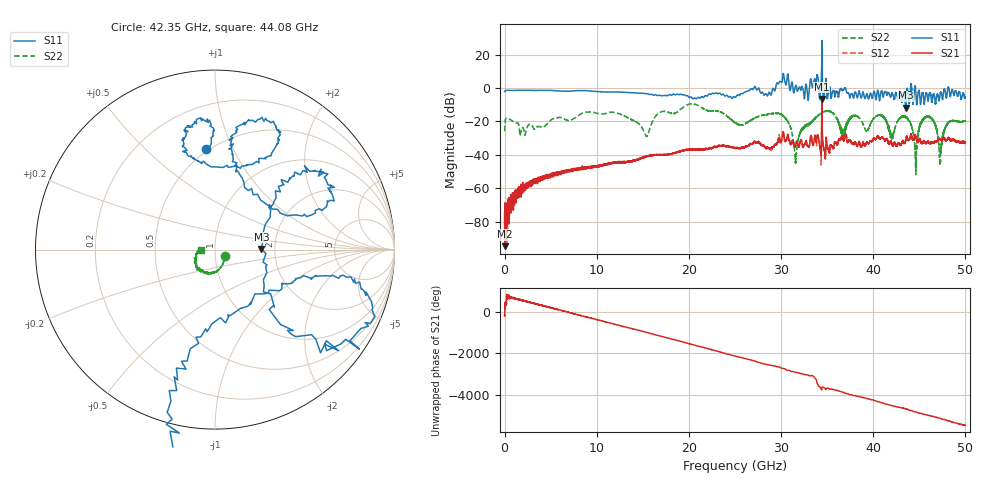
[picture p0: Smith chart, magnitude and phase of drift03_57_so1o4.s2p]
!Created with skrf (http://scikit-rf.org).
# Hz S RI R 50.0
!freq ReS11 ImS11 ReS21 ImS21 ReS12 ImS12 ReS22 ImS22
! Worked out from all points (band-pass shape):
!   10000 points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, 5.3 MHz to 50 GHz, reference 50 ohm
!   highest |S21| = -6.60 dB at 34.43 GHz (marker M1); lowest = -94.7 dB at 5.3 MHz (marker M2)
!   |S21| within 3 dB of the highest: 34.42752 GHz to 34.43473 GHz (7.206 MHz wide, 0.0209 % of centre)
!   lowest |S11| = -11.7 dB at 43.52 GHz (marker M3), VSWR 1.70, Z = 84.9 + j0.745 ohm
!   |S11| at or under -10 dB: 43.48768 GHz to 43.54497 GHz (57.29 MHz wide, 0.132 % of centre); 44.70928 GHz to 44.71177 GHz (2.49 MHz wide, 0.00557 % of centre)
!   |S22| runs from -51.9 to -9.4 dB; largest |S21 - S12| = 0.13
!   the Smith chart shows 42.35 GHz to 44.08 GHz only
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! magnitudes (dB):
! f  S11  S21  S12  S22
! 5.3 MHz  -2.1  -94.7  -81.2  -25.9
! 2.355 GHz  -1.4  -59.6  -57.9  -25.1
! 8.34 GHz  -1.5  -48.1  -48.1  -15.3
! 12.45 GHz  -2.4  -44.4  -44.5  -15.5
! 15.4 GHz  -3.5  -40.9  -40.9  -28.9
! 16.67 GHz  -4.4  -40.3  -40.0  -15.3
! 20.47 GHz  -6.5  -36.7  -36.9  -9.6
! 25.01 GHz  -5.5  -35.8  -35.8  -20.7
! 29.93 GHz  4.0  -32.4  -31.6  -15.6
! 31.59 GHz  1.4  -33.7  -33.9  -44.7
! 33.34 GHz  2.6  -30.0  -30.5  -20.2
! 34.43 GHz  28.5  -6.6  -8.5  -14.5
! 36.69 GHz  -1.4  -29.8  -29.7  -27.8
! 37.95 GHz  -3.9  -32.8  -32.8  -16.3
! 41.67 GHz  -2.8  -33.4  -33.3  -22.4
! 43.52 GHz  -11.7  -31.4  -31.4  -17.5
! 44.61 GHz  -1.4  -29.0  -29.2  -47.0
! 45.27 GHz  -4.0  -32.9  -33.1  -19.9
! 46.31 GHz  -6.7  -32.3  -32.5  -18.1
! 47.29 GHz  -3.0  -30.5  -30.7  -43.5
! 48.17 GHz  0.6  -29.7  -29.9  -20.3
! 50 GHz  -5.3  -32.2  -32.7  -19.8
